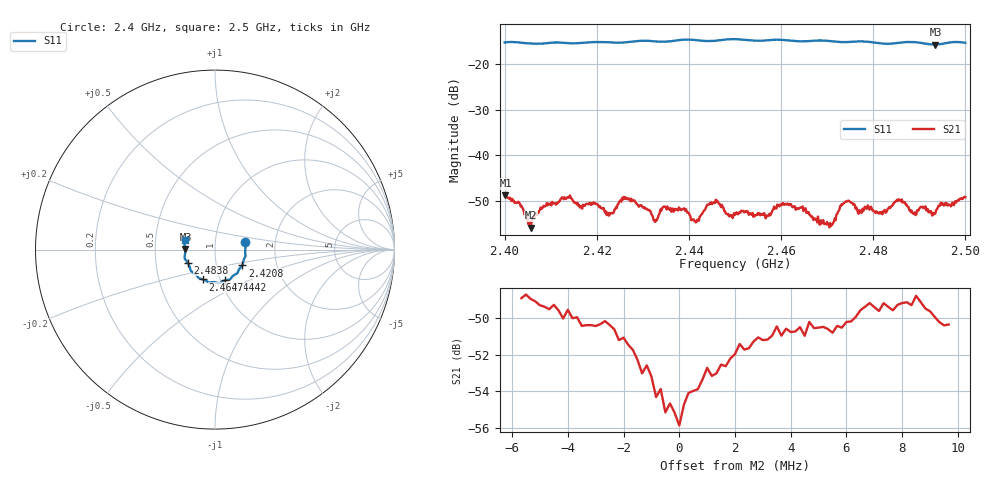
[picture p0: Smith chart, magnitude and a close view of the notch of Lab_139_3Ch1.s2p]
# Hz S RI R 50
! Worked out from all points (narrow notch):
!   601 points, 2.4 GHz to 2.5 GHz, reference 50 ohm
!   highest |S21| = -48.72 dB at 2.4002 GHz (marker M1); lowest = -55.9 dB at 2.4057 GHz (marker M2)
!   notch at M2: 4.3 dB deep, 1.63 MHz wide at half that depth
!   lowest |S11| = -15.7 dB at 2.4935 GHz (marker M3), VSWR 1.40, Z = 35.8 + j0.184 ohm
!   |S11| at or under -10 dB: start of sweep to end of sweep
!   S12 and S22 are empty: the file has one direction only
!   S11 on the Smith chart (normalised r, x): 2.4 GHz: 1.40, +0.12; 2.4208 GHz: 1.33, -0.24; 2.4442 GHz: 1.05, -0.37; 2.4647 GHz: 0.83, -0.28; 2.4838 GHz: 0.73, -0.11; 2.5 GHz: 0.71, +0.08
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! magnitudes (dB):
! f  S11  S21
! 2.4 GHz  -15.2  -48.9
! 2.4002 GHz  -15.2  -48.7
! 2.4057 GHz  -15.4  -55.9
! 2.4127 GHz  -15.2  -49.4
! 2.4167 GHz  -15.3  -51.3
! 2.4208 GHz  -15.1  -51.6
! 2.4232 GHz  -15.2  -52.6
! 2.4263 GHz  -15.2  -49.5
! 2.4333 GHz  -15.0  -53.4
! 2.4383 GHz  -14.6  -52.0
! 2.4417 GHz  -14.7  -54.6
! 2.4442 GHz  -14.9  -50.8
! 2.45 GHz  -14.5  -53.1
! 2.4647 GHz  -14.9  -51.2
! 2.4667 GHz  -14.8  -53.4
! 2.4708 GHz  -14.9  -55.5
! 2.4743 GHz  -15.1  -50.1
! 2.477 GHz  -15.0  -52.0
! 2.4833 GHz  -15.5  -51.6
! 2.4838 GHz  -15.5  -51.2
! 2.4935 GHz  -15.7  -52.7
! 2.5 GHz  -15.3  -49.1
